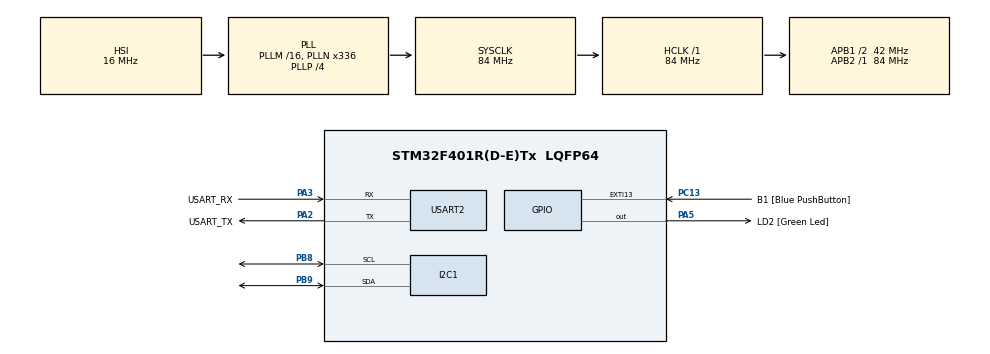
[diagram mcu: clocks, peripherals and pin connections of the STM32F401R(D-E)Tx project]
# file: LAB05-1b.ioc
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Dma.I2C1_RX.1.Direction=DMA_PERIPH_TO_MEMORY
Dma.I2C1_RX.1.FIFOMode=DMA_FIFOMODE_DISABLE
Dma.I2C1_RX.1.Instance=DMA1_Stream0
Dma.I2C1_RX.1.MemDataAlignment=DMA_MDATAALIGN_BYTE
Dma.I2C1_RX.1.MemInc=DMA_MINC_ENABLE
Dma.I2C1_RX.1.Mode=DMA_NORMAL
Dma.I2C1_RX.1.PeriphDataAlignment=DMA_PDATAALIGN_BYTE
Dma.I2C1_RX.1.PeriphInc=DMA_PINC_DISABLE
Dma.I2C1_RX.1.Priority=DMA_PRIORITY_LOW
Dma.Request0=USART2_TX
Dma.Request1=I2C1_RX
Dma.USART2_TX.0.Direction=DMA_MEMORY_TO_PERIPH
Dma.USART2_TX.0.FIFOMode=DMA_FIFOMODE_DISABLE
Dma.USART2_TX.0.Instance=DMA1_Stream6
Dma.USART2_TX.0.MemDataAlignment=DMA_MDATAALIGN_BYTE
Dma.USART2_TX.0.MemInc=DMA_MINC_ENABLE
Dma.USART2_TX.0.Mode=DMA_NORMAL
Dma.USART2_TX.0.PeriphDataAlignment=DMA_PDATAALIGN_BYTE
Dma.USART2_TX.0.PeriphInc=DMA_PINC_DISABLE
Dma.USART2_TX.0.Priority=DMA_PRIORITY_LOW
Mcu.Family=STM32F4
Mcu.Name=STM32F401R(D-E)Tx
Mcu.Package=LQFP64
NVIC.DMA1_Stream0_IRQn=true\:0\:0\:false\:false\:true\:false\:true\:true
NVIC.DMA1_Stream6_IRQn=true\:0\:0\:false\:false\:true\:false\:true\:true
NVIC.I2C1_EV_IRQn=true\:0\:0\:false\:false\:true\:true\:true\:true
NVIC.PriorityGroup=NVIC_PRIORITYGROUP_4
NVIC.TIM2_IRQn=true\:0\:0\:false\:false\:true\:true\:true\:true
NVIC.USART2_IRQn=true\:0\:0\:false\:false\:true\:true\:true\:true
PA13.GPIO_Label=TMS
PA13.Mode=Trace_Asynchronous_SW
PA13.Signal=SYS_JTMS-SWDIO
PA14.GPIO_Label=TCK
PA14.Mode=Trace_Asynchronous_SW
PA14.Signal=SYS_JTCK-SWCLK
PA2.GPIO_Label=USART_TX
PA2.GPIO_Mode=GPIO_MODE_AF_PP
PA2.GPIO_PuPd=GPIO_NOPULL
PA2.GPIO_Speed=GPIO_SPEED_FREQ_LOW
PA2.Mode=Asynchronous
PA2.Signal=USART2_TX
PA3.GPIO_Label=USART_RX
PA3.GPIO_Mode=GPIO_MODE_AF_PP
PA3.GPIO_PuPd=GPIO_NOPULL
PA3.GPIO_Speed=GPIO_SPEED_FREQ_LOW
PA3.Mode=Asynchronous
PA3.Signal=USART2_RX
PA5.GPIO_Label=LD2 [Green Led]
PA5.GPIO_Mode=GPIO_MODE_OUTPUT_PP
PA5.GPIO_PuPd=GPIO_NOPULL
PA5.GPIO_Speed=GPIO_SPEED_FREQ_LOW
PA5.Signal=GPIO_Output
PB3.GPIO_Label=SWO
PB3.Mode=Trace_Asynchronous_SW
PB3.Signal=SYS_JTDO-SWO
PB8.Mode=I2C
PB8.Signal=I2C1_SCL
PB9.Mode=I2C
PB9.Signal=I2C1_SDA
PC13-ANTI_TAMP.GPIO_Label=B1 [Blue PushButton]
PC13-ANTI_TAMP.GPIO_ModeDefaultEXTI=GPIO_MODE_IT_FALLING
PC13-ANTI_TAMP.GPIO_PuPd=GPIO_NOPULL
PC13-ANTI_TAMP.Signal=GPXTI13
PC14-OSC32_IN.Mode=LSE-External-Oscillator
PC14-OSC32_IN.Signal=RCC_OSC32_IN
PC15-OSC32_OUT.Mode=LSE-External-Oscillator
PC15-OSC32_OUT.Signal=RCC_OSC32_OUT
PH0\ -\ OSC_IN.Mode=HSE-External-Clock-Source
PH0\ -\ OSC_IN.Signal=RCC_OSC_IN
PH1\ -\ OSC_OUT.Mode=HSE-External-Clock-Source
PH1\ -\ OSC_OUT.Signal=RCC_OSC_OUT
ProjectManager.HeapSize=0x200
ProjectManager.StackSize=0x400
ProjectManager.TargetToolchain=STM32CubeIDE
RCC.48MHZClocksFreq_Value=48000000
RCC.AHBFreq_Value=84000000
RCC.APB1CLKDivider=RCC_HCLK_DIV2
RCC.APB1Freq_Value=42000000
RCC.APB1TimFreq_Value=84000000
RCC.APB2Freq_Value=84000000
RCC.APB2TimFreq_Value=84000000
RCC.CortexFreq_Value=84000000
RCC.HCLKFreq_Value=84000000
RCC.HSE_VALUE=8000000
RCC.HSI_VALUE=16000000
RCC.PLLN=336
RCC.PLLP=RCC_PLLP_DIV4
RCC.PLLQ=7
RCC.SYSCLKFreq_VALUE=84000000
RCC.SYSCLKSource=RCC_SYSCLKSOURCE_PLLCLK
RCC.VCOOutputFreq_Value=336000000
TIM2.Period=9999
TIM2.Prescaler=8399
USART2.VirtualMode=VM_ASYNC
VP_TIM2_VS_ClockSourceINT.Mode=Internal
board=NUCLEO-F401RE

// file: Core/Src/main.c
/* USER CODE BEGIN Header */
/**
  ******************************************************************************
  * @file           : main.c
  * @brief          : Main program body
  ******************************************************************************
  * @attention
  *
  * Copyright (c) 2026 STMicroelectronics.
  * All rights reserved.
  *
  * This software is licensed under terms that can be found in the LICENSE file
  * in the root directory of this software component.
  * If no LICENSE file comes with this software, it is provided AS-IS.
  *
  ******************************************************************************
  */
/* USER CODE END Header */
#include "main.h"

/* USER CODE BEGIN Includes */

#include <stdio.h>

/* USER CODE END Includes */

I2C_HandleTypeDef hi2c1;
DMA_HandleTypeDef hdma_i2c1_rx;

TIM_HandleTypeDef htim2;

UART_HandleTypeDef huart2;
DMA_HandleTypeDef hdma_usart2_tx;

/* USER CODE BEGIN PV */

// I2C communication address and buffer
uint8_t temp_reg = 0x00;
uint8_t temp_rx_1[2] = {0};
uint8_t temp_rx_2[2] = {0};
uint8_t read_state = 0;
const uint16_t LM75_ADDR = (0x48 << 1);

// UART communication buffer and length
char tx_buffer[50];
int length = 0;

/* USER CODE END PV */

void SystemClock_Config(void);
static void MX_GPIO_Init(void);
static void MX_DMA_Init(void);
static void MX_USART2_UART_Init(void);
static void MX_I2C1_Init(void);
static void MX_TIM2_Init(void);

int main(void)
{

  /* MCU Configuration--------------------------------------------------------*/

  /* Reset of all peripherals, Initializes the Flash interface and the Systick. */
  HAL_Init();

  /* Configure the system clock */
  SystemClock_Config();

  /* Initialize all configured peripherals */
  MX_GPIO_Init();
  MX_DMA_Init();
  MX_USART2_UART_Init();
  MX_I2C1_Init();
  MX_TIM2_Init();
  /* USER CODE BEGIN 2 */

  // Start the Timer
  HAL_TIM_Base_Start_IT(&htim2);

  /* USER CODE END 2 */

  /* Infinite loop */
  while (1)
  {

  }
}

void SystemClock_Config(void)
{
  RCC_OscInitTypeDef RCC_OscInitStruct = {0};
  RCC_ClkInitTypeDef RCC_ClkInitStruct = {0};

  /** Configure the main internal regulator output voltage
  */
  __HAL_RCC_PWR_CLK_ENABLE();
  __HAL_PWR_VOLTAGESCALING_CONFIG(PWR_REGULATOR_VOLTAGE_SCALE2);

  /** Initializes the RCC Oscillators according to the specified parameters
  * in the RCC_OscInitTypeDef structure.
  */
  RCC_OscInitStruct.OscillatorType = RCC_OSCILLATORTYPE_HSI;
  RCC_OscInitStruct.HSIState = RCC_HSI_ON;
  RCC_OscInitStruct.HSICalibrationValue = RCC_HSICALIBRATION_DEFAULT;
  RCC_OscInitStruct.PLL.PLLState = RCC_PLL_ON;
  RCC_OscInitStruct.PLL.PLLSource = RCC_PLLSOURCE_HSI;
  RCC_OscInitStruct.PLL.PLLM = 16;
  RCC_OscInitStruct.PLL.PLLN = 336;
  RCC_OscInitStruct.PLL.PLLP = RCC_PLLP_DIV4;
  RCC_OscInitStruct.PLL.PLLQ = 7;
  if (HAL_RCC_OscConfig(&RCC_OscInitStruct) != HAL_OK)
  {
    Error_Handler();
  }

  /** Initializes the CPU, AHB and APB buses clocks
  */
  RCC_ClkInitStruct.ClockType = RCC_CLOCKTYPE_HCLK|RCC_CLOCKTYPE_SYSCLK
                              |RCC_CLOCKTYPE_PCLK1|RCC_CLOCKTYPE_PCLK2;
  RCC_ClkInitStruct.SYSCLKSource = RCC_SYSCLKSOURCE_PLLCLK;
  RCC_ClkInitStruct.AHBCLKDivider = RCC_SYSCLK_DIV1;
  RCC_ClkInitStruct.APB1CLKDivider = RCC_HCLK_DIV2;
  RCC_ClkInitStruct.APB2CLKDivider = RCC_HCLK_DIV1;

  if (HAL_RCC_ClockConfig(&RCC_ClkInitStruct, FLASH_LATENCY_2) != HAL_OK)
  {
    Error_Handler();
  }
}

static void MX_I2C1_Init(void)
{

  hi2c1.Instance = I2C1;
  hi2c1.Init.ClockSpeed = 100000;
  hi2c1.Init.DutyCycle = I2C_DUTYCYCLE_2;
  hi2c1.Init.OwnAddress1 = 0;
  hi2c1.Init.AddressingMode = I2C_ADDRESSINGMODE_7BIT;
  hi2c1.Init.DualAddressMode = I2C_DUALADDRESS_DISABLE;
  hi2c1.Init.OwnAddress2 = 0;
  hi2c1.Init.GeneralCallMode = I2C_GENERALCALL_DISABLE;
  hi2c1.Init.NoStretchMode = I2C_NOSTRETCH_DISABLE;
  if (HAL_I2C_Init(&hi2c1) != HAL_OK)
  {
    Error_Handler();
  }

}

static void MX_TIM2_Init(void)
{

  TIM_ClockConfigTypeDef sClockSourceConfig = {0};
  TIM_MasterConfigTypeDef sMasterConfig = {0};

  htim2.Instance = TIM2;
  htim2.Init.Prescaler = 8399;
  htim2.Init.CounterMode = TIM_COUNTERMODE_UP;
  htim2.Init.Period = 9999;
  htim2.Init.ClockDivision = TIM_CLOCKDIVISION_DIV1;
  htim2.Init.AutoReloadPreload = TIM_AUTORELOAD_PRELOAD_DISABLE;
  if (HAL_TIM_Base_Init(&htim2) != HAL_OK)
  {
    Error_Handler();
  }
  sClockSourceConfig.ClockSource = TIM_CLOCKSOURCE_INTERNAL;
  if (HAL_TIM_ConfigClockSource(&htim2, &sClockSourceConfig) != HAL_OK)
  {
    Error_Handler();
  }
  sMasterConfig.MasterOutputTrigger = TIM_TRGO_RESET;
  sMasterConfig.MasterSlaveMode = TIM_MASTERSLAVEMODE_DISABLE;
  if (HAL_TIMEx_MasterConfigSynchronization(&htim2, &sMasterConfig) != HAL_OK)
  {
    Error_Handler();
  }

}

static void MX_USART2_UART_Init(void)
{

  huart2.Instance = USART2;
  huart2.Init.BaudRate = 115200;
  huart2.Init.WordLength = UART_WORDLENGTH_8B;
  huart2.Init.StopBits = UART_STOPBITS_1;
  huart2.Init.Parity = UART_PARITY_NONE;
  huart2.Init.Mode = UART_MODE_TX_RX;
  huart2.Init.HwFlowCtl = UART_HWCONTROL_NONE;
  huart2.Init.OverSampling = UART_OVERSAMPLING_16;
  if (HAL_UART_Init(&huart2) != HAL_OK)
  {
    Error_Handler();
  }

}

static void MX_DMA_Init(void)
{

  /* DMA controller clock enable */
  __HAL_RCC_DMA1_CLK_ENABLE();

  /* DMA interrupt init */
  /* DMA1_Stream0_IRQn interrupt configuration */
  HAL_NVIC_SetPriority(DMA1_Stream0_IRQn, 0, 0);
  HAL_NVIC_EnableIRQ(DMA1_Stream0_IRQn);
  /* DMA1_Stream6_IRQn interrupt configuration */
  HAL_NVIC_SetPriority(DMA1_Stream6_IRQn, 0, 0);
  HAL_NVIC_EnableIRQ(DMA1_Stream6_IRQn);

}

static void MX_GPIO_Init(void)
{
  GPIO_InitTypeDef GPIO_InitStruct = {0};

  /* GPIO Ports Clock Enable */
  __HAL_RCC_GPIOC_CLK_ENABLE();
  __HAL_RCC_GPIOH_CLK_ENABLE();
  __HAL_RCC_GPIOA_CLK_ENABLE();
  __HAL_RCC_GPIOB_CLK_ENABLE();

  /*Configure GPIO pin Output Level */
  HAL_GPIO_WritePin(LD2_GPIO_Port, LD2_Pin, GPIO_PIN_RESET);

  /*Configure GPIO pin : B1_Pin */
  GPIO_InitStruct.Pin = B1_Pin;
  GPIO_InitStruct.Mode = GPIO_MODE_IT_FALLING;
  GPIO_InitStruct.Pull = GPIO_NOPULL;
  HAL_GPIO_Init(B1_GPIO_Port, &GPIO_InitStruct);

  /*Configure GPIO pin : LD2_Pin */
  GPIO_InitStruct.Pin = LD2_Pin;
  GPIO_InitStruct.Mode = GPIO_MODE_OUTPUT_PP;
  GPIO_InitStruct.Pull = GPIO_NOPULL;
  GPIO_InitStruct.Speed = GPIO_SPEED_FREQ_LOW;
  HAL_GPIO_Init(LD2_GPIO_Port, &GPIO_InitStruct);

}

/* USER CODE BEGIN 4 */

// This function is automatically called when a Timer Period elapses
void HAL_TIM_PeriodElapsedCallback(TIM_HandleTypeDef *htim)
{
  if (htim->Instance == TIM2) {

	  // Start first I2C DMA read from sensor
	  read_state = 1;
	  HAL_I2C_Mem_Read_DMA(&hi2c1, LM75_ADDR, temp_reg, I2C_MEMADD_SIZE_8BIT, temp_rx_1, 2);
  }
}

// This function is automatically called when the DMA finishes the I2C read
void HAL_I2C_MemRxCpltCallback(I2C_HandleTypeDef *hi2c)
{
  if (hi2c->Instance == I2C1) {

    if (read_state == 1) {

      // Start second I2C DMA read from sensor
      read_state = 2;
      HAL_I2C_Mem_Read_DMA(&hi2c1, LM75_ADDR, temp_reg, I2C_MEMADD_SIZE_8BIT, temp_rx_2, 2);

    } else if (read_state == 2) {

      int16_t raw_temp;

      // Check if the MSByte changed between the first reading and second reading
      if (temp_rx_1[0] == temp_rx_2[0]) {

        // No tear, use the first reading
        raw_temp = (int16_t)((temp_rx_1[0] << 8) | temp_rx_1[1]);

      } else {

        // Tear, use the second
        raw_temp = (int16_t)((temp_rx_2[0] << 8) | temp_rx_2[1]);
      }

      // Dividing by 256.0 handles the bit shifting and decimal conversion automatically
      float final_temp = raw_temp / 256.0f;

      // Format the message
      length = snprintf(tx_buffer, sizeof(tx_buffer), "Temperature: %.3f C\r\n", final_temp);

      // Send it via UART DMA
      HAL_UART_Transmit_DMA(&huart2, (uint8_t *)tx_buffer, length);
    }
  }
}

/* USER CODE END 4 */

void Error_Handler(void)
{
  __disable_irq();
  while (1)
  {
  }
}
